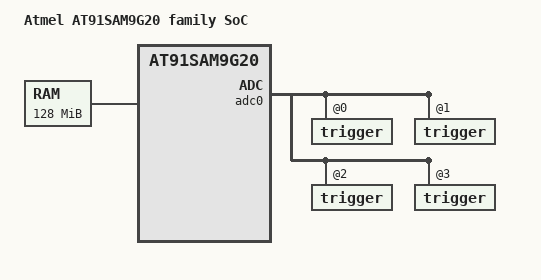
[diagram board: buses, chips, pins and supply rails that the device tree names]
/*
 * at91sam9g20.dtsi - Device Tree Include file for AT91SAM9G20 family SoC
 *
 *  Copyright (C) 2012 Jean-Christophe PLAGNIOL-VILLARD <plagnioj@jcrosoft.com>
 *
 * Licensed under GPLv2.
 */

/include/ "at91sam9260.dtsi"

/ {
	model = "Atmel AT91SAM9G20 family SoC";
	compatible = "atmel,at91sam9g20";

	memory {
		reg = <0x20000000 0x08000000>;
	};

	ahb {
		apb {
			adc0: adc@fffe0000 {
				atmel,adc-startup-time = <40>;
			};

			adc0: adc@fffe0000 {
				compatible = "atmel,at91sam9260-adc";
				reg = <0xfffe0000 0x100>;
				interrupts = <5 4>;
				atmel,adc-use-external-triggers;
				atmel,adc-channels-used = <0xf>;
				atmel,adc-vref = <3300>;
				atmel,adc-num-channels = <4>;
				atmel,adc-startup-time = <10>;
				atmel,adc-channel-base = <0x30>;
				atmel,adc-drdy-mask = <0x10000>;
				atmel,adc-status-register = <0x1c>;
				atmel,adc-trigger-register = <0x04>;

				trigger@0 {
					trigger-name = "timer-counter-0";
					trigger-value = <0x1>;
				};
				trigger@1 {
					trigger-name = "timer-counter-1";
					trigger-value = <0x3>;
				};

				trigger@2 {
					trigger-name = "timer-counter-2";
					trigger-value = <0x5>;
				};

				trigger@3 {
					trigger-name = "external";
					trigger-value = <0x13>;
					trigger-external;
				};
			};
		};
	};
};
